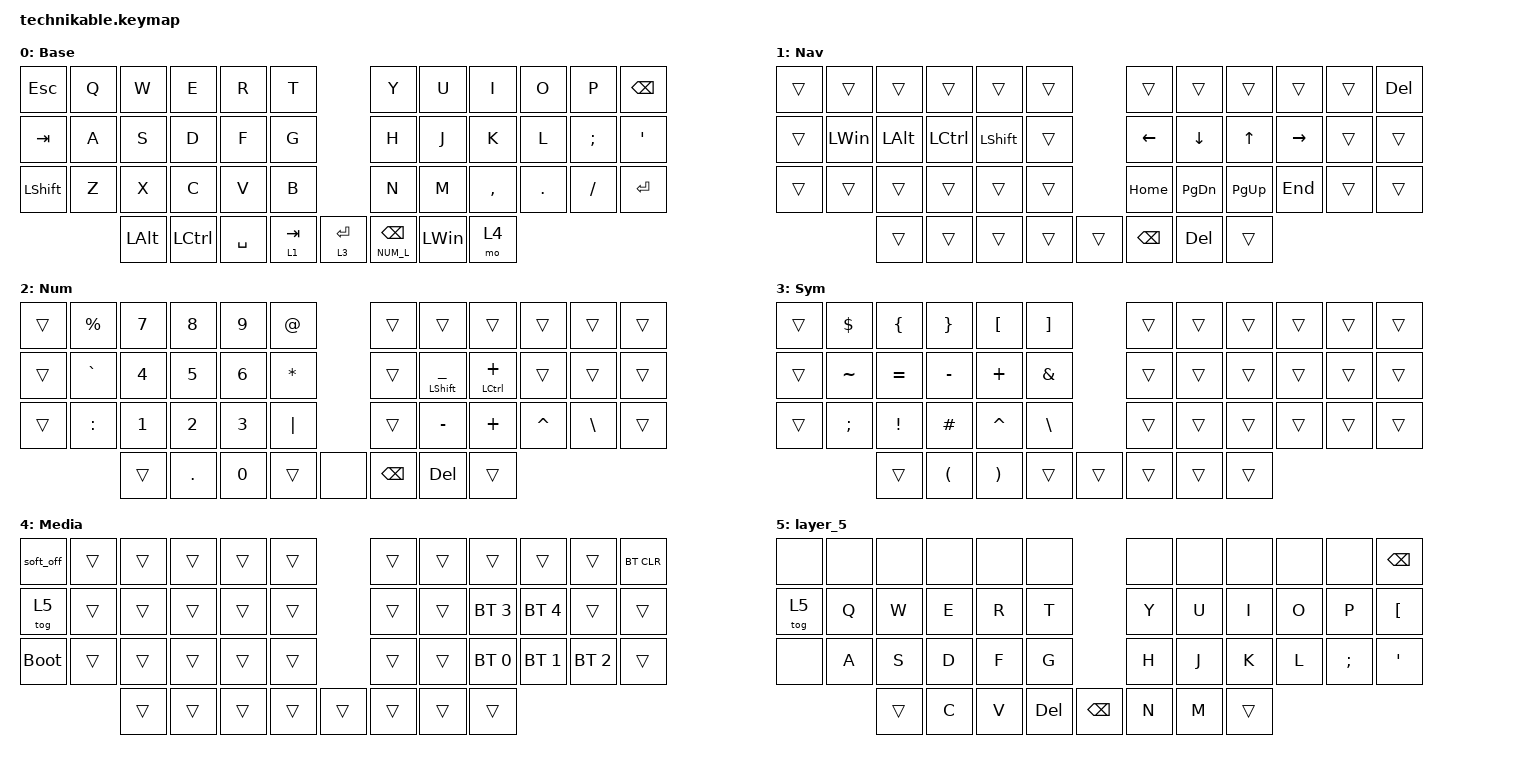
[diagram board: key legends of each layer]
/*
 * Copyright (c) 2022 Pete Johanson
 *
 * SPDX-License-Identifier: MIT
 */

#include <behaviors.dtsi>
#include <dt-bindings/zmk/bt.h>
#include <dt-bindings/zmk/keys.h>

#define BAS_L 0
#define NAV_L 1
#define NUM_L 2
#define SYM_L 3

// Using layer taps on thumbs, having quick tap as well helps w/ repeating space/backspace

&lt { quick_tap_ms = <250>; };

/ {
    chosen { zmk,matrix_transform = &ortho_transform; };

    conditional_layers { compatible = "zmk,conditional-layers"; };

    keymap {
        compatible = "zmk,keymap";

        base_layer {
            label = "Base";
            bindings = <
&kp ESC    &kp Q  &kp W     &kp E      &kp R      &kp T                   &kp Y                &kp U         &kp I      &kp O    &kp P     &kp BACKSPACE
&kp TAB    &kp A  &kp S     &kp D      &kp F      &kp G                   &kp H                &kp J         &kp K      &kp L    &kp SEMI  &kp SINGLE_QUOTE
&kp LSHFT  &kp Z  &kp X     &kp C      &kp V      &kp B                   &kp N                &kp M         &kp COMMA  &kp DOT  &kp FSLH  &kp RET
                  &kp LALT  &kp LCTRL  &kp SPACE  &lt 1 TAB  &lt 3 ENTER  &lt NUM_L BACKSPACE  &kp LEFT_WIN  &mo 4
            >;
        };

        nav_layer {
            label = "Nav";
            bindings = <
&trans  &trans        &trans        &trans     &trans          &trans          &trans          &trans          &trans        &trans           &trans  &kp DEL
&trans  &kp LEFT_WIN  &kp LEFT_ALT  &kp LCTRL  &kp LEFT_SHIFT  &trans          &kp LEFT_ARROW  &kp DOWN_ARROW  &kp UP_ARROW  &kp RIGHT_ARROW  &trans  &trans
&trans  &trans        &trans        &trans     &trans          &trans          &kp HOME        &kp PAGE_DOWN   &kp PAGE_UP   &kp END          &trans  &trans
                      &trans        &trans     &trans          &trans  &trans  &kp BACKSPACE   &kp DELETE      &trans
            >;
        };

        num_layer {
            label = "Num";
            bindings = <
&trans  &kp PERCENT  &kp N7  &kp N8      &kp N9  &kp AT               &trans         &trans           &trans          &trans     &trans    &trans
&trans  &kp GRAVE    &kp N4  &kp N5      &kp N6  &kp ASTERISK         &trans         &mt LSHFT UNDER  &mt LCTRL PLUS  &trans     &trans    &trans
&trans  &kp COLON    &kp N1  &kp N2      &kp N3  &kp PIPE             &trans         &kp MINUS        &kp PLUS        &kp CARET  &kp BSLH  &trans
                     &trans  &kp PERIOD  &kp N0  &trans        &none  &kp BACKSPACE  &kp DEL          &trans
            >;
        };

        sym_layer {
            label = "Sym";
            bindings = <
&trans  &kp DLLR   &kp LBRC   &kp RBRC              &kp LBKT               &kp RBKT          &trans  &trans  &trans  &trans  &trans  &trans
&trans  &kp TILDE  &kp EQUAL  &kp MINUS             &kp PLUS               &kp AMPS          &trans  &trans  &trans  &trans  &trans  &trans
&trans  &kp SEMI   &kp EXCL   &kp HASH              &kp CARET              &kp BSLH          &trans  &trans  &trans  &trans  &trans  &trans
                   &trans     &kp LEFT_PARENTHESIS  &kp RIGHT_PARENTHESIS  &trans    &trans  &trans  &trans  &trans
            >;
        };

        layer_4 {
            label = "Media";
            bindings = <
&soft_off    &trans  &trans  &trans  &trans  &trans          &trans  &trans  &trans        &trans        &trans        &bt BT_CLR
&tog 5       &trans  &trans  &trans  &trans  &trans          &trans  &trans  &bt BT_SEL 3  &bt BT_SEL 4  &trans        &trans
&bootloader  &trans  &trans  &trans  &trans  &trans          &trans  &trans  &bt BT_SEL 0  &bt BT_SEL 1  &bt BT_SEL 2  &trans
                     &trans  &trans  &trans  &trans  &trans  &trans  &trans  &trans
            >;
        };

        layer_5 {
            bindings = <
&none   &none  &none   &none  &none  &none                      &none  &none  &none   &none  &none     &kp BACKSPACE
&tog 5  &kp Q  &kp W   &kp E  &kp R  &kp T                      &kp Y  &kp U  &kp I   &kp O  &kp P     &kp LBKT
&none   &kp A  &kp S   &kp D  &kp F  &kp G                      &kp H  &kp J  &kp K   &kp L  &kp SEMI  &kp SINGLE_QUOTE
               &trans  &kp C  &kp V  &kp DELETE  &kp BACKSPACE  &kp N  &kp M  &trans
            >;
        };
    };
};
